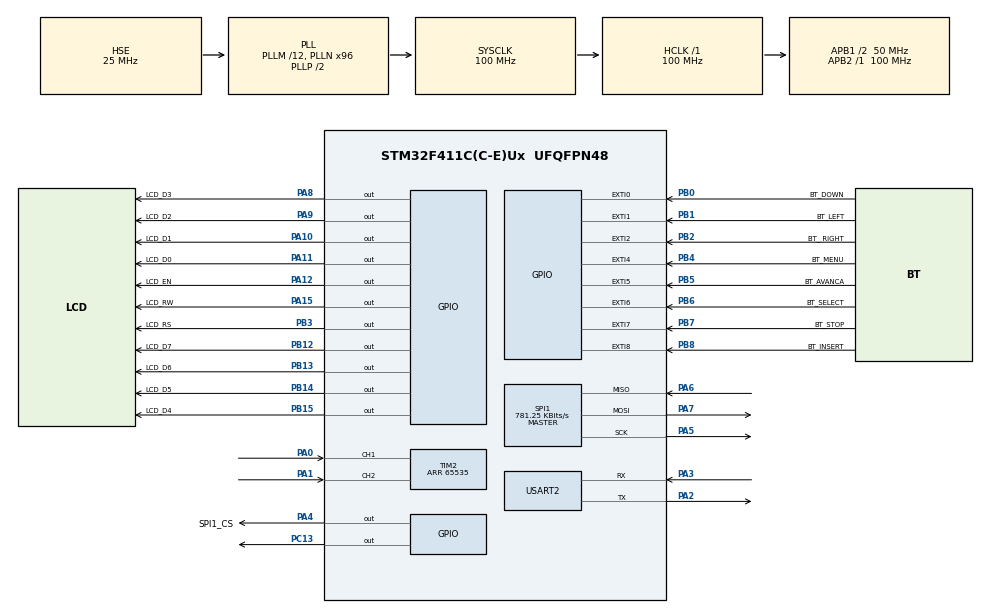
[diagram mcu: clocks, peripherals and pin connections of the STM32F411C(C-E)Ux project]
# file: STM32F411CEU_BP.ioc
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Dma.Request0=USART2_RX
Dma.USART2_RX.0.Direction=DMA_PERIPH_TO_MEMORY
Dma.USART2_RX.0.FIFOMode=DMA_FIFOMODE_DISABLE
Dma.USART2_RX.0.Instance=DMA1_Stream5
Dma.USART2_RX.0.MemDataAlignment=DMA_MDATAALIGN_BYTE
Dma.USART2_RX.0.MemInc=DMA_MINC_ENABLE
Dma.USART2_RX.0.Mode=DMA_NORMAL
Dma.USART2_RX.0.PeriphDataAlignment=DMA_PDATAALIGN_BYTE
Dma.USART2_RX.0.PeriphInc=DMA_PINC_DISABLE
Dma.USART2_RX.0.Priority=DMA_PRIORITY_LOW
FATFS._FS_LOCK=5
FATFS._USE_LFN=1
Mcu.Family=STM32F4
Mcu.Name=STM32F411C(C-E)Ux
Mcu.Package=UFQFPN48
NVIC.DMA1_Stream5_IRQn=true\:0\:0\:false\:false\:true\:false\:true\:true
NVIC.EXTI0_IRQn=true\:0\:0\:false\:false\:true\:true\:true\:true
NVIC.EXTI1_IRQn=true\:0\:0\:false\:false\:true\:true\:true\:true
NVIC.EXTI2_IRQn=true\:0\:0\:false\:false\:true\:true\:true\:true
NVIC.EXTI4_IRQn=true\:0\:0\:false\:false\:true\:true\:true\:true
NVIC.EXTI9_5_IRQn=true\:0\:0\:false\:false\:true\:true\:true\:true
NVIC.PriorityGroup=NVIC_PRIORITYGROUP_4
NVIC.TIM2_IRQn=true\:0\:0\:false\:false\:true\:true\:true\:true
NVIC.TIM3_IRQn=true\:0\:0\:false\:false\:true\:true\:true\:true
NVIC.USART2_IRQn=true\:0\:0\:false\:false\:true\:true\:true\:true
PA0-WKUP.Signal=S_TIM2_CH1_ETR
PA1.Signal=S_TIM2_CH2
PA10.GPIO_Label=LCD_D1
PA10.Signal=GPIO_Output
PA11.GPIO_Label=LCD_D0
PA11.Signal=GPIO_Output
PA12.GPIO_Label=LCD_EN
PA12.Signal=GPIO_Output
PA13.Mode=Serial_Wire
PA13.Signal=SYS_JTMS-SWDIO
PA14.Mode=Serial_Wire
PA14.Signal=SYS_JTCK-SWCLK
PA15.GPIO_Label=LCD_RW
PA15.Signal=GPIO_Output
PA2.Mode=Asynchronous
PA2.Signal=USART2_TX
PA3.Mode=Asynchronous
PA3.Signal=USART2_RX
PA4.GPIO_Label=SPI1_CS
PA4.GPIO_PuPd=GPIO_PULLUP
PA4.Signal=GPIO_Output
PA5.GPIO_PuPd=GPIO_PULLUP
PA5.Mode=Full_Duplex_Master
PA5.Signal=SPI1_SCK
PA6.GPIO_PuPd=GPIO_PULLUP
PA6.Mode=Full_Duplex_Master
PA6.Signal=SPI1_MISO
PA7.GPIO_PuPd=GPIO_PULLUP
PA7.Mode=Full_Duplex_Master
PA7.Signal=SPI1_MOSI
PA8.GPIO_Label=LCD_D3
PA8.Signal=GPIO_Output
PA9.GPIO_Label=LCD_D2
PA9.Signal=GPIO_Output
PB0.GPIO_Label=BT_DOWN
PB0.GPIO_ModeDefaultEXTI=GPIO_MODE_IT_FALLING
PB0.GPIO_PuPd=GPIO_PULLUP
PB0.Signal=GPXTI0
PB1.GPIO_Label=BT_LEFT
PB1.GPIO_PuPd=GPIO_PULLUP
PB1.Signal=GPXTI1
PB12.GPIO_Label=LCD_D7
PB12.GPIO_PuPd=GPIO_NOPULL
PB12.Signal=GPIO_Output
PB13.GPIO_Label=LCD_D6
PB13.Signal=GPIO_Output
PB14.GPIO_Label=LCD_D5
PB14.Signal=GPIO_Output
PB15.GPIO_Label=LCD_D4
PB15.Signal=GPIO_Output
PB2.GPIO_Label=BT_ RIGHT
PB2.GPIO_PuPd=GPIO_PULLUP
PB2.Signal=GPXTI2
PB3.GPIO_Label=LCD_RS
PB3.Signal=GPIO_Output
PB4.GPIO_Label=BT_MENU
PB4.GPIO_PuPd=GPIO_PULLUP
PB4.Signal=GPXTI4
PB5.GPIO_Label=BT_AVANCA
PB5.GPIO_ModeDefaultEXTI=GPIO_MODE_IT_FALLING
PB5.GPIO_PuPd=GPIO_PULLUP
PB5.Signal=GPXTI5
PB6.GPIO_Label=BT_SELECT
PB6.GPIO_ModeDefaultEXTI=GPIO_MODE_IT_FALLING
PB6.GPIO_PuPd=GPIO_PULLUP
PB6.Signal=GPXTI6
PB7.GPIO_Label=BT_STOP
PB7.GPIO_ModeDefaultEXTI=GPIO_MODE_IT_FALLING
PB7.GPIO_PuPd=GPIO_PULLUP
PB7.Signal=GPXTI7
PB8.GPIO_Label=BT_INSERT
PB8.GPIO_ModeDefaultEXTI=GPIO_MODE_IT_FALLING
PB8.GPIO_PuPd=GPIO_PULLUP
PB8.Signal=GPXTI8
PC13-ANTI_TAMP.Signal=GPIO_Output
PH0\ -\ OSC_IN.Mode=HSE-External-Oscillator
PH0\ -\ OSC_IN.Signal=RCC_OSC_IN
PH1\ -\ OSC_OUT.Mode=HSE-External-Oscillator
PH1\ -\ OSC_OUT.Signal=RCC_OSC_OUT
ProjectManager.HeapSize=0x200
ProjectManager.StackSize=0x400
ProjectManager.TargetToolchain=STM32CubeIDE
RCC.48MHZClocksFreq_Value=50000000
RCC.AHBFreq_Value=100000000
RCC.APB1CLKDivider=RCC_HCLK_DIV2
RCC.APB1Freq_Value=50000000
RCC.APB1TimFreq_Value=100000000
RCC.APB2Freq_Value=100000000
RCC.APB2TimFreq_Value=100000000
RCC.CortexFreq_Value=100000000
RCC.HCLKFreq_Value=100000000
RCC.HSE_VALUE=25000000
RCC.HSI_VALUE=16000000
RCC.LSE_VALUE=32768
RCC.PLLM=12
RCC.PLLN=96
RCC.PLLSourceVirtual=RCC_PLLSOURCE_HSE
RCC.SYSCLKFreq_VALUE=100000000
RCC.SYSCLKSource=RCC_SYSCLKSOURCE_PLLCLK
RCC.VCOOutputFreq_Value=200000000
SH.S_TIM2_CH1_ETR.0=TIM2_CH1,Encoder_Interface
SH.S_TIM2_CH2.0=TIM2_CH2,Encoder_Interface
SPI1.BaudRatePrescaler=SPI_BAUDRATEPRESCALER_128
SPI1.CalculateBaudRate=781.25 KBits/s
SPI1.Direction=SPI_DIRECTION_2LINES
SPI1.Mode=SPI_MODE_MASTER
SPI1.VirtualType=VM_MASTER
TIM2.IC1Filter=15
TIM2.IC1Polarity=TIM_ICPOLARITY_FALLING
TIM2.IC2Filter=15
TIM2.Period=65535
TIM3.Period=10-1
TIM3.Prescaler=10-1
USART2.VirtualMode=VM_ASYNC
VP_FATFS_VS_Generic.Mode=User_defined
VP_TIM3_VS_ClockSourceINT.Mode=Internal
board=custom

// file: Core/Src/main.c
/* USER CODE BEGIN Header */
/**
  ******************************************************************************
  * @file           : main.c
  * @brief          : JUMPSYSTEM
  ******************************************************************************
  * @SMLCK  = 16MHz
  *
  * Copyright (c) 2022 STMicroelectronics.
  * All rights reserved.
  *
  * This software is licensed under terms that can be found in the LICENSE file
  * in the root directory of this software component.
  * If no LICENSE file comes with this software, it is provided AS-IS.
  *
  ******************************************************************************
  */
/* USER CODE END Header */
#include "main.h"
#include "fatfs.h"

/* USER CODE BEGIN Includes */
#include "menu_module.h"
#include "Display_module.h"
#include "DisplayMessages.h"
#include "INICIAR_Component.h"
#include "IO_interface.h"
#include <stdio.h>
#include <stdlib.h>
#include "menu_module.h"
#include "INICIAR_Component.h"
#include "Consulta_component.h"
#include "Configuracao_component.h"
#include "Exportar_component.h"
#include "Apagar_component.h"
#include "IO_interface.h"
#include "DataProcessing.h"
#include "SENSORHW.h"
#include "flash_v1.0.h"
#include "HIL_INTERFACE.h"
#include "fatfs_sd.h"

/* USER CODE END Includes */

SPI_HandleTypeDef hspi1;

TIM_HandleTypeDef htim2;
TIM_HandleTypeDef htim3;

UART_HandleTypeDef huart2;
DMA_HandleTypeDef hdma_usart2_rx;

/* USER CODE BEGIN PV */
volatile char key = IDDLE;
volatile unsigned char sensorFlag = 1; //ESTADO INICIAL 1->FORA DO TAPETE 0> SOBRE O TAPETE
volatile char uartBuffer[2];
volatile char rxMSG[2];
volatile char uartFlagRx = FALSE;
volatile unsigned char samples = 0;
volatile unsigned char sensorState;
volatile uint32_t timer3Data = 0;
volatile uint32_t timer3Count = 0;
volatile unsigned int totalTimeArray[SAMPLES];
volatile unsigned int timeVoo[SAMPLES];
volatile unsigned int timeSolo[SAMPLES];

/* USER CODE END PV */

void SystemClock_Config(void);
static void MX_GPIO_Init(void);
static void MX_DMA_Init(void);
static void MX_TIM2_Init(void);
static void MX_TIM3_Init(void);
static void MX_USART2_UART_Init(void);
static void MX_SPI1_Init(void);

/* USER CODE BEGIN 0 */

//unsigned int getTimeInterval()
//{
//	return timeInterval;
//}
//void resetTimeInterval()
//{
//	timeInterval = 0;
//}
unsigned int* getTotalTime()
{
	return &totalTimeArray;
}

unsigned int* getTimeVoo()
{
	return &timeVoo;
}

unsigned int* getTimeSolo()
{
	return &timeSolo;
}

unsigned char resetSamplesCount()
{
	return samples = 0;
}

unsigned char* getSamplesCount()
{
	return &samples;
}

unsigned char* getRxBuffer()
{
	return &rxMSG;
}

void resetRxFlag()
{
	uartFlagRx = FALSE;
}

unsigned char getRxFlag()
{
	return uartFlagRx;
}

void resetTimer3Variable()
{
	timer3Data = 0;
}

unsigned char getKeyPressed()
{
	return key;
}

void resetKeyPressed()
{
	key = IDDLE;
	HAL_Delay(200);
}

unsigned long int* getUARTInstance()
{
	return &huart2;
}

TIM_HandleTypeDef* getTimer2Instance()
{
	return &htim2;
}

TIM_HandleTypeDef* getTimer3Instance()
{
	return &htim3;
}

unsigned char getTimer2Variable()
{
	return sensorFlag;
}

unsigned char* getSensorFlag()
{
	return &sensorFlag;
}

uint32_t* getTimer3Variable()
{
	return &timer3Data;
}

/* USER CODE END 0 */

int main(void)
{

  /* MCU Configuration--------------------------------------------------------*/

  /* Reset of all peripherals, Initializes the Flash interface and the Systick. */
  HAL_Init();

  /* USER CODE BEGIN Init */
  struct Menu{
  	  unsigned char menuNext;
  	  unsigned char menuSelect;
  	  unsigned char menuDisplay;
  	  unsigned char menuState;
    };

    struct Menu menuTesteMain = {IDDLE,IDDLE,IDDLE,IDDLE};
    struct Menu menuTesteSub = {IDDLE,IDDLE,IDDLE,IDDLE};
    unsigned char displayUpdateStatus = IDDLE;

  /* USER CODE END Init */

  /* Configure the system clock */
  SystemClock_Config();

  /* Initialize all configured peripherals */
  MX_GPIO_Init();
  MX_DMA_Init();
  MX_TIM2_Init();
  MX_TIM3_Init();
  MX_USART2_UART_Init();
  MX_SPI1_Init();
  MX_FATFS_Init();

  /* Infinite loop */
  /* USER CODE BEGIN WHILE */
  HAL_GPIO_WritePin(GPIOC, GPIO_PIN_13, SET);
  HAL_UARTEx_ReceiveToIdle_DMA(&huart2, (uint8_t *)uartBuffer, sizeof(uartBuffer));
  __HAL_DMA_DISABLE_IT(&hdma_usart2_rx, DMA_IT_HT);
  homeDataDisplay(appNameMsg,companyNameMsg,appVersionMsg);
#if _VI
  readyUserInterface(&displayUpdateStatus);
  updateUserMsg(0,USERMSG1,"LABVIEW",&displayUpdateStatus);
  HIL();
  readyUserInterface(&displayUpdateStatus);
  for(;;)
  {
	  HAL_GPIO_TogglePin(GPIOC, GPIO_PIN_13);
	  HAL_Delay(500);
  }
#endif
#if _HWVALIDATION
  startTM3();
  for(;;)
  {
//	  HAL_GPIO_TogglePin(GPIOC, GPIO_PIN_13);
//	  HAL_Delay(1000);
  }
#endif

#if _MEASUREVALIDATION
  while(1)
  {
	  readyUserInterface(&displayUpdateStatus);
	  updateUserMsg(0,USERMSG1,"SENSING MEAS.",&displayUpdateStatus);
	  measureValidation();
  }
#endif

#if _APPLICATION
  while (1)
  {
	  switch(menuTesteMain.menuState)
	  	  {
	  		  case IDDLE:
	  			  menuTesteMain.menuState = getNextMain(IDDLE);
	  			  if(key == DOWN)
	  			  {
	  				  resetKeyPressed();
	  				  readyUserInterface(&displayUpdateStatus);
	  				  menuTesteMain.menuState = getNextMain(START_TEST);
	  			  }
	  		  break;

	  		  case START_TEST:
	  			  updateUserMsg(0,USERMSG1,startUserMsg,&displayUpdateStatus);
	  			  HW_PRINT_DATA(0,INSERTMSG,avancarUserMsg);
	  			  HW_PRINT_DATA(0,OPTIONMSG,selecionarUserMsg);
//	  			  if(key == AVANCAR)
//	  			  {
//	  				  resetKeyPressed();
//	  				  readyUserInterface(&displayUpdateStatus);
//	  				  menuTesteMain.menuState = getNextMain(CONSULT_DATA);
//	  			  }
	  			  if(key == DOWN)
	  			  {
	  				  resetKeyPressed();
	  				  readyUserInterface(&displayUpdateStatus);
	  				  menuTesteMain.menuState = getNextMain(CONSULT_DATA);
	  			  }
	  			  else if(key == CONFIRMAR)
	  			  {
	  				  resetKeyPressed();
	  				  readyUserInterface(&displayUpdateStatus);
	  				  menuTesteMain.menuSelect = menuTesteMain.menuState;
	  				  initStateMachine(&menuTesteSub);
	  				  readyUserInterface(&displayUpdateStatus);

	  				  menuTesteSub.menuState = IDDLE;
	  			  }
	  		  break;

	  		  case CONSULT_DATA:
	  			  updateUserMsg(0,0,consultUserMsg,&displayUpdateStatus);
	  			  HW_PRINT_DATA(0,INSERTMSG,avancarUserMsg);
	  			  HW_PRINT_DATA(0,OPTIONMSG,selecionarUserMsg);
	  			  if(key == AVANCAR)
	  			  {
	  				  resetKeyPressed();
					  readyUserInterface(&displayUpdateStatus);
	  				  menuTesteMain.menuState = getNextMain(START_TEST);
	  			  }
	  			  else if(key == DOWN)
	  			  {
	  				  resetKeyPressed();
					  readyUserInterface(&displayUpdateStatus);
	  				  menuTesteMain.menuState = getNextMain(CONFIG_SENSOR);
	  			  }

	  			  else if(key == CONFIRMAR)
	  			  {
	  				  resetKeyPressed();
	  				  readyUserInterface(&displayUpdateStatus);
	  				 consultStateMachine(&menuTesteSub);
	  				  readyUserInterface(&displayUpdateStatus);
	  				 menuTesteMain.menuState = getNextMain(START_TEST);
	  				 menuTesteSub.menuState = IDDLE;
	  			  }
	  		  break;

	  		  case CONFIG_SENSOR:
	  			  updateUserMsg(0,0,configUserMsg,&displayUpdateStatus);
	  			  HW_PRINT_DATA(0,INSERTMSG,avancarUserMsg);
	  			  HW_PRINT_DATA(0,OPTIONMSG,selecionarUserMsg);
	  			  if(key == AVANCAR)
	  			  {
	  				  resetKeyPressed();
	  				  readyUserInterface(&displayUpdateStatus);
	  				  menuTesteMain.menuState = getNextMain(CONSULT_DATA);
	  			  }
	  			  else if(key == DOWN)
				  {
					  resetKeyPressed();
					  readyUserInterface(&displayUpdateStatus);
					  menuTesteMain.menuState = getNextMain(EXPORT_DATA);
				  }
	  			  else if(key == CONFIRMAR)
	  			  {
	  				  resetKeyPressed();
	  				  readyUserInterface(&displayUpdateStatus);
	  				  configStateMachine(&menuTesteSub);
	  				  readyUserInterface(&displayUpdateStatus);
	  				  menuTesteSub.menuState = IDDLE;
	  				  menuTesteMain.menuState = getNextMain(START_TEST);
	  			  }
	  		  break;

	  		  case EXPORT_DATA:
	  			  updateUserMsg(0,0,exportUserMsg,&displayUpdateStatus);
	  			  HW_PRINT_DATA(0,INSERTMSG,avancarUserMsg);
	  			  HW_PRINT_DATA(0,OPTIONMSG,selecionarUserMsg);
	  			  if(key == AVANCAR)
	  			  {
	  				  resetKeyPressed();
	  				  readyUserInterface(&displayUpdateStatus);
	  				  menuTesteMain.menuState = getNextMain(CONFIG_SENSOR);
	  			  }
	  			  else if(key == DOWN)
				  {
					  resetKeyPressed();
					  readyUserInterface(&displayUpdateStatus);
					  menuTesteMain.menuState = getNextMain(ERASE_DATA);
				  }
	  			  else if(key == CONFIRMAR)
	  			  {
	  				  resetKeyPressed();
	  				  readyUserInterface(&displayUpdateStatus);
	  				  exportStateMachine(&menuTesteSub);
	  				  readyUserInterface(&displayUpdateStatus);

	  				  menuTesteSub.menuState = IDDLE;
	  				  menuTesteMain.menuState = getNextMain(START_TEST);
	  			  }
	  		  break;

	  		  case ERASE_DATA:
	  			  updateUserMsg(0,0,eraseUserMsg,&displayUpdateStatus);
	  			  HW_PRINT_DATA(0,INSERTMSG,avancarUserMsg);
	  			  HW_PRINT_DATA(0,OPTIONMSG,selecionarUserMsg);
	  			  if(key == AVANCAR)
	  			  {
	  				  resetKeyPressed();
	  				  readyUserInterface(&displayUpdateStatus);
	  				  menuTesteMain.menuState = getNextMain(EXPORT_DATA);
	  			  }
	  			  if(key == DOWN)
				  {
					  resetKeyPressed();
					  readyUserInterface(&displayUpdateStatus);
					  menuTesteMain.menuState = getNextMain(START_TEST);
				  }

	  			  else if(key == CONFIRMAR)
	  			  {
	  				  resetKeyPressed();
	  				  readyUserInterface(&displayUpdateStatus);
	  				  eraseStateMachine(&menuTesteSub);
	  				  readyUserInterface(&displayUpdateStatus);

	  				  menuTesteSub.menuState = IDDLE;
	  				  menuTesteMain.menuState = getNextMain(START_TEST);
	  			  }
	  		  break;
	  	  }
	    }
#endif
    /* USER CODE END WHILE */

}

void SystemClock_Config(void)
{
  RCC_OscInitTypeDef RCC_OscInitStruct = {0};
  RCC_ClkInitTypeDef RCC_ClkInitStruct = {0};

  /** Configure the main internal regulator output voltage
  */
  __HAL_RCC_PWR_CLK_ENABLE();
  __HAL_PWR_VOLTAGESCALING_CONFIG(PWR_REGULATOR_VOLTAGE_SCALE1);

  /** Initializes the RCC Oscillators according to the specified parameters
  * in the RCC_OscInitTypeDef structure.
  */
  RCC_OscInitStruct.OscillatorType = RCC_OSCILLATORTYPE_HSE;
  RCC_OscInitStruct.HSEState = RCC_HSE_ON;
  RCC_OscInitStruct.PLL.PLLState = RCC_PLL_ON;
  RCC_OscInitStruct.PLL.PLLSource = RCC_PLLSOURCE_HSE;
  RCC_OscInitStruct.PLL.PLLM = 12;
  RCC_OscInitStruct.PLL.PLLN = 96;
  RCC_OscInitStruct.PLL.PLLP = RCC_PLLP_DIV2;
  RCC_OscInitStruct.PLL.PLLQ = 4;
  if (HAL_RCC_OscConfig(&RCC_OscInitStruct) != HAL_OK)
  {
    Error_Handler();
  }

  /** Initializes the CPU, AHB and APB buses clocks
  */
  RCC_ClkInitStruct.ClockType = RCC_CLOCKTYPE_HCLK|RCC_CLOCKTYPE_SYSCLK
                              |RCC_CLOCKTYPE_PCLK1|RCC_CLOCKTYPE_PCLK2;
  RCC_ClkInitStruct.SYSCLKSource = RCC_SYSCLKSOURCE_PLLCLK;
  RCC_ClkInitStruct.AHBCLKDivider = RCC_SYSCLK_DIV1;
  RCC_ClkInitStruct.APB1CLKDivider = RCC_HCLK_DIV2;
  RCC_ClkInitStruct.APB2CLKDivider = RCC_HCLK_DIV1;

  if (HAL_RCC_ClockConfig(&RCC_ClkInitStruct, FLASH_LATENCY_3) != HAL_OK)
  {
    Error_Handler();
  }
}

static void MX_SPI1_Init(void)
{

  /* SPI1 parameter configuration*/
  hspi1.Instance = SPI1;
  hspi1.Init.Mode = SPI_MODE_MASTER;
  hspi1.Init.Direction = SPI_DIRECTION_2LINES;
  hspi1.Init.DataSize = SPI_DATASIZE_8BIT;
  hspi1.Init.CLKPolarity = SPI_POLARITY_LOW;
  hspi1.Init.CLKPhase = SPI_PHASE_1EDGE;
  hspi1.Init.NSS = SPI_NSS_SOFT;
  hspi1.Init.BaudRatePrescaler = SPI_BAUDRATEPRESCALER_128;
  hspi1.Init.FirstBit = SPI_FIRSTBIT_MSB;
  hspi1.Init.TIMode = SPI_TIMODE_DISABLE;
  hspi1.Init.CRCCalculation = SPI_CRCCALCULATION_DISABLE;
  hspi1.Init.CRCPolynomial = 10;
  if (HAL_SPI_Init(&hspi1) != HAL_OK)
  {
    Error_Handler();
  }

}

static void MX_TIM2_Init(void)
{

  TIM_Encoder_InitTypeDef sConfig = {0};
  TIM_MasterConfigTypeDef sMasterConfig = {0};

  htim2.Instance = TIM2;
  htim2.Init.Prescaler = 0;
  htim2.Init.CounterMode = TIM_COUNTERMODE_UP;
  htim2.Init.Period = 65535;
  htim2.Init.ClockDivision = TIM_CLOCKDIVISION_DIV1;
  htim2.Init.AutoReloadPreload = TIM_AUTORELOAD_PRELOAD_DISABLE;
  sConfig.EncoderMode = TIM_ENCODERMODE_TI1;
  sConfig.IC1Polarity = TIM_ICPOLARITY_FALLING;
  sConfig.IC1Selection = TIM_ICSELECTION_DIRECTTI;
  sConfig.IC1Prescaler = TIM_ICPSC_DIV1;
  sConfig.IC1Filter = 15;
  sConfig.IC2Polarity = TIM_ICPOLARITY_RISING;
  sConfig.IC2Selection = TIM_ICSELECTION_DIRECTTI;
  sConfig.IC2Prescaler = TIM_ICPSC_DIV1;
  sConfig.IC2Filter = 15;
  if (HAL_TIM_Encoder_Init(&htim2, &sConfig) != HAL_OK)
  {
    Error_Handler();
  }
  sMasterConfig.MasterOutputTrigger = TIM_TRGO_RESET;
  sMasterConfig.MasterSlaveMode = TIM_MASTERSLAVEMODE_DISABLE;
  if (HAL_TIMEx_MasterConfigSynchronization(&htim2, &sMasterConfig) != HAL_OK)
  {
    Error_Handler();
  }

}

static void MX_TIM3_Init(void)
{

  TIM_ClockConfigTypeDef sClockSourceConfig = {0};
  TIM_MasterConfigTypeDef sMasterConfig = {0};

  htim3.Instance = TIM3;
  htim3.Init.Prescaler = 10-1;
  htim3.Init.CounterMode = TIM_COUNTERMODE_UP;
  htim3.Init.Period = 100-1;
  htim3.Init.ClockDivision = TIM_CLOCKDIVISION_DIV1;
  htim3.Init.AutoReloadPreload = TIM_AUTORELOAD_PRELOAD_DISABLE;
  if (HAL_TIM_Base_Init(&htim3) != HAL_OK)
  {
    Error_Handler();
  }
  sClockSourceConfig.ClockSource = TIM_CLOCKSOURCE_INTERNAL;
  if (HAL_TIM_ConfigClockSource(&htim3, &sClockSourceConfig) != HAL_OK)
  {
    Error_Handler();
  }
  sMasterConfig.MasterOutputTrigger = TIM_TRGO_RESET;
  sMasterConfig.MasterSlaveMode = TIM_MASTERSLAVEMODE_DISABLE;
  if (HAL_TIMEx_MasterConfigSynchronization(&htim3, &sMasterConfig) != HAL_OK)
  {
    Error_Handler();
  }

}

static void MX_USART2_UART_Init(void)
{

  huart2.Instance = USART2;
  huart2.Init.BaudRate = 115200;
  huart2.Init.WordLength = UART_WORDLENGTH_8B;
  huart2.Init.StopBits = UART_STOPBITS_1;
  huart2.Init.Parity = UART_PARITY_NONE;
  huart2.Init.Mode = UART_MODE_TX_RX;
  huart2.Init.HwFlowCtl = UART_HWCONTROL_NONE;
  huart2.Init.OverSampling = UART_OVERSAMPLING_16;
  if (HAL_UART_Init(&huart2) != HAL_OK)
  {
    Error_Handler();
  }

}

static void MX_DMA_Init(void)
{

  /* DMA controller clock enable */
  __HAL_RCC_DMA1_CLK_ENABLE();

  /* DMA interrupt init */
  /* DMA1_Stream5_IRQn interrupt configuration */
  HAL_NVIC_SetPriority(DMA1_Stream5_IRQn, 0, 0);
  HAL_NVIC_EnableIRQ(DMA1_Stream5_IRQn);

}

static void MX_GPIO_Init(void)
{
  GPIO_InitTypeDef GPIO_InitStruct = {0};

  /* GPIO Ports Clock Enable */
  __HAL_RCC_GPIOC_CLK_ENABLE();
  __HAL_RCC_GPIOH_CLK_ENABLE();
  __HAL_RCC_GPIOA_CLK_ENABLE();
  __HAL_RCC_GPIOB_CLK_ENABLE();

  /*Configure GPIO pin Output Level */
  HAL_GPIO_WritePin(GPIOC, GPIO_PIN_13, GPIO_PIN_RESET);

  /*Configure GPIO pin Output Level */
  HAL_GPIO_WritePin(GPIOA, SPI1_CS_Pin|LCD_D3_Pin|LCD_D2_Pin|LCD_D1_Pin
                          |LCD_D0_Pin|LCD_EN_Pin|LCD_RW_Pin, GPIO_PIN_RESET);

  /*Configure GPIO pin Output Level */
  HAL_GPIO_WritePin(GPIOB, LCD_D7_Pin|LCD_D6_Pin|LCD_D5_Pin|LCD_D4_Pin
                          |LCD_RS_Pin, GPIO_PIN_RESET);

  /*Configure GPIO pin : PC13 */
  GPIO_InitStruct.Pin = GPIO_PIN_13;
  GPIO_InitStruct.Mode = GPIO_MODE_OUTPUT_PP;
  GPIO_InitStruct.Pull = GPIO_NOPULL;
  GPIO_InitStruct.Speed = GPIO_SPEED_FREQ_LOW;
  HAL_GPIO_Init(GPIOC, &GPIO_InitStruct);

  /*Configure GPIO pin : SPI1_CS_Pin */
  GPIO_InitStruct.Pin = SPI1_CS_Pin;
  GPIO_InitStruct.Mode = GPIO_MODE_OUTPUT_PP;
  GPIO_InitStruct.Pull = GPIO_PULLUP;
  GPIO_InitStruct.Speed = GPIO_SPEED_FREQ_LOW;
  HAL_GPIO_Init(SPI1_CS_GPIO_Port, &GPIO_InitStruct);

  /*Configure GPIO pins : BT_DOWN_Pin BT_AVANCA_Pin BT_SELECT_Pin BT_STOP_Pin
                           BT_INSERT_Pin */
  GPIO_InitStruct.Pin = BT_DOWN_Pin|BT_AVANCA_Pin|BT_SELECT_Pin|BT_STOP_Pin
                          |BT_INSERT_Pin;
  GPIO_InitStruct.Mode = GPIO_MODE_IT_FALLING;
  GPIO_InitStruct.Pull = GPIO_PULLUP;
  HAL_GPIO_Init(GPIOB, &GPIO_InitStruct);

  /*Configure GPIO pins : BT_LEFT_Pin BT__RIGHT_Pin BT_MENU_Pin */
  GPIO_InitStruct.Pin = BT_LEFT_Pin|BT__RIGHT_Pin|BT_MENU_Pin;
  GPIO_InitStruct.Mode = GPIO_MODE_IT_RISING;
  GPIO_InitStruct.Pull = GPIO_PULLUP;
  HAL_GPIO_Init(GPIOB, &GPIO_InitStruct);

  /*Configure GPIO pins : LCD_D7_Pin LCD_D6_Pin LCD_D5_Pin LCD_D4_Pin
                           LCD_RS_Pin */
  GPIO_InitStruct.Pin = LCD_D7_Pin|LCD_D6_Pin|LCD_D5_Pin|LCD_D4_Pin
                          |LCD_RS_Pin;
  GPIO_InitStruct.Mode = GPIO_MODE_OUTPUT_PP;
  GPIO_InitStruct.Pull = GPIO_NOPULL;
  GPIO_InitStruct.Speed = GPIO_SPEED_FREQ_LOW;
  HAL_GPIO_Init(GPIOB, &GPIO_InitStruct);

  /*Configure GPIO pins : LCD_D3_Pin LCD_D2_Pin LCD_D1_Pin LCD_D0_Pin
                           LCD_EN_Pin LCD_RW_Pin */
  GPIO_InitStruct.Pin = LCD_D3_Pin|LCD_D2_Pin|LCD_D1_Pin|LCD_D0_Pin
                          |LCD_EN_Pin|LCD_RW_Pin;
  GPIO_InitStruct.Mode = GPIO_MODE_OUTPUT_PP;
  GPIO_InitStruct.Pull = GPIO_NOPULL;
  GPIO_InitStruct.Speed = GPIO_SPEED_FREQ_LOW;
  HAL_GPIO_Init(GPIOA, &GPIO_InitStruct);

  /* EXTI interrupt init*/
  HAL_NVIC_SetPriority(EXTI0_IRQn, 0, 0);
  HAL_NVIC_EnableIRQ(EXTI0_IRQn);

  HAL_NVIC_SetPriority(EXTI1_IRQn, 0, 0);
  HAL_NVIC_EnableIRQ(EXTI1_IRQn);

  HAL_NVIC_SetPriority(EXTI2_IRQn, 0, 0);
  HAL_NVIC_EnableIRQ(EXTI2_IRQn);

  HAL_NVIC_SetPriority(EXTI4_IRQn, 0, 0);
  HAL_NVIC_EnableIRQ(EXTI4_IRQn);

  HAL_NVIC_SetPriority(EXTI9_5_IRQn, 0, 0);
  HAL_NVIC_EnableIRQ(EXTI9_5_IRQn);

}

/* USER CODE BEGIN 4 */
void HAL_TIM_PeriodElapsedCallback(TIM_HandleTypeDef* htim)
{
	if(htim == &htim3) //10us
	{
//		HAL_GPIO_TogglePin(GPIOC, GPIO_PIN_13);
		timer3Count=10;  //1ms
//		if(timer3Count == 10)
//		{
		timer3Data += timer3Count; //10ms
//			timer3Count = 0;
//			samples++;
	}

}

void HAL_UARTEx_RxEventCallback(UART_HandleTypeDef *huart, uint16_t Size)
{

	uartFlagRx = TRUE;
//	HAL_GPIO_TogglePin(GPIOC, GPIO_PIN_13);
  HAL_UARTEx_ReceiveToIdle_DMA(&huart2, (uint8_t *)uartBuffer, sizeof(uartBuffer));
  for(unsigned char i=0;i<Size;i++)  rxMSG[i] = uartBuffer[i];
  for(unsigned char i=0;i<Size;i++)  uartBuffer[i] = '0';
  __HAL_DMA_DISABLE_IT(&hdma_usart2_rx, DMA_IT_HT);

}

void HAL_TIM_IC_CaptureCallback(TIM_HandleTypeDef *htim)
{
	if(htim == &htim2)
	{
		if(htim->Channel == 2)
		{
			sensorFlag = 1;
		}
		else if(htim->Channel == 1)
		{
			sensorFlag = 0;
		}
	}
}

void HAL_GPIO_EXTI_Callback(uint16_t GPIO_Pin)
{
	switch(GPIO_Pin)
	{
		case BT_AVANCA_Pin:
			key = AVANCAR;
		break;

		case BT_DOWN_Pin:
		key = DOWN;
		break;

		case BT_LEFT_Pin:
		key = LEFT;
		break;

		case BT__RIGHT_Pin:
		key = RIGHT;
		break;

		case BT_INSERT_Pin:
			key = INSERIR;
		break;
		case BT_MENU_Pin:
			key = MENU;
		break;
		case BT_SELECT_Pin:
			key = CONFIRMAR;
		break;
		case BT_STOP_Pin:
			key = PARAR;
		break;
	}

}

/* USER CODE END 4 */

void Error_Handler(void)
{
  __disable_irq();
  while (1)
  {
  }
}
